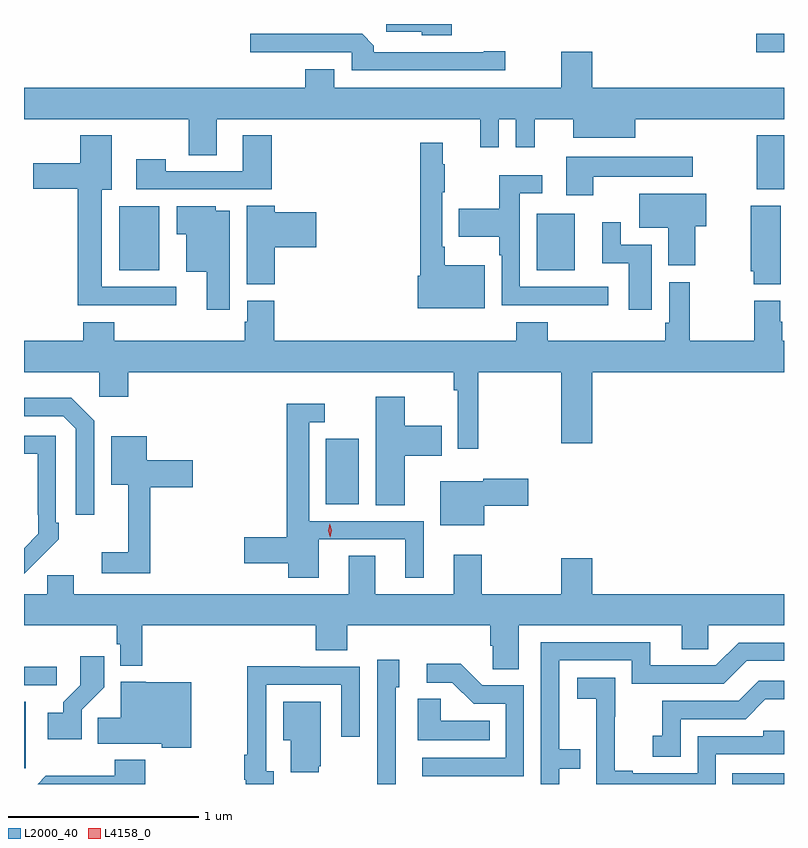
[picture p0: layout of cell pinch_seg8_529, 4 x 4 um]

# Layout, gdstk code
import gdstk
lib = gdstk.Library(unit=1e-6, precision=1e-09)
def R(c, l, rs):  # rectangles x0, y0, x1, y1
    for r in rs: c.add(gdstk.rectangle(r[:2], r[2:], *l))
def P(c, l, *ps):  # polygons
    for p in ps: c.add(gdstk.Polygon(p, *l))
L2000_40 = (2000, 40)
L4158_0 = (4158, 0)

pinch_seg8_529 = lib.new_cell('pinch_seg8_529')
R(pinch_seg8_529, L2000_40, [(153.919,1106.34,154.192,1106.397), (150.192,1106.424,150.202,1106.773), (150.192,1106.859,150.364,1106.958), (151.781,1107.812,151.954,1108.156), (150.692,1109.045,150.904,1109.38), (152.891,1109.045,153.091,1109.341), (154.048,1109.469,154.192,1109.755), (154.047,1110.192,154.192,1110.288)])
P(pinch_seg8_529, L2000_40, [(152.443,1110.34),(152.099,1110.34),(152.099,1110.299),(152.286,1110.299),(152.286,1110.281),(152.443,1110.281)],
  [(152.725,1110.197),(152.612,1110.197),(152.612,1110.192),(152.033,1110.192),(152.033,1110.226),(151.971,1110.288),(151.383,1110.288),(151.383,1110.192),(151.917,1110.192),(151.917,1110.096),(152.725,1110.096)],
  [(151.207,1109.84),(152.594,1109.84),(152.594,1109.691),(152.691,1109.691),(152.691,1109.84),(152.781,1109.84),(152.781,1109.691),(152.879,1109.691),(152.879,1109.84),(153.083,1109.84),(153.083,1109.741),(153.409,1109.741),(153.409,1109.84),(154.192,1109.84),(154.192,1110.004),(153.184,1110.004),(153.184,1110.193),(153.02,1110.193),(153.02,1110.004),(151.825,1110.004),(151.825,1110.103),(151.673,1110.103),(151.673,1110.004),(150.192,1110.004),(150.192,1109.84),(151.06,1109.84),(151.06,1109.65),(151.207,1109.65)],
  [(150.994,1108.956),(150.601,1108.956),(150.601,1109.468),(150.655,1109.468),(150.655,1109.755),(150.488,1109.755),(150.488,1109.608),(150.24,1109.608),(150.24,1109.474),(150.476,1109.474),(150.476,1108.859),(150.994,1108.859)],
  [(151.496,1109.755),(151.343,1109.755),(151.343,1109.565),(150.939,1109.565),(150.939,1109.629),(150.783,1109.629),(150.783,1109.469),(151.496,1109.469)],
  [(152.617,1109.071),(152.407,1109.071),(152.407,1109.167),(152.394,1109.167),(152.394,1109.455),(152.407,1109.455),(152.407,1109.603),(152.396,1109.603),(152.396,1109.716),(152.278,1109.716),(152.278,1109.015),(152.264,1109.015),(152.264,1108.844),(152.617,1108.844)],
  [(153.187,1109.537),(153.712,1109.537),(153.712,1109.641),(153.047,1109.641),(153.047,1109.439),(153.187,1109.439)],
  [(153.268,1108.956),(152.802,1108.956),(152.802,1109.448),(152.92,1109.448),(152.92,1109.545),(152.694,1109.545),(152.694,1109.367),(152.479,1109.367),(152.479,1109.219),(152.694,1109.219),(152.694,1109.123),(152.706,1109.123),(152.706,1108.86),(153.031,1108.86),(153.031,1108.859),(153.268,1108.859)],
  [(153.724,1109.276),(153.784,1109.276),(153.784,1109.446),(153.431,1109.446),(153.431,1109.267),(153.584,1109.267),(153.584,1109.07),(153.724,1109.07)],
  [(151.511,1109.165),(151.729,1109.165),(151.729,1109.348),(151.511,1109.348),(151.511,1109.384),(151.364,1109.384),(151.364,1108.969),(151.511,1108.969)],
  [(154.174,1109.384),(154.016,1109.384),(154.016,1109.04),(154.033,1109.04),(154.033,1108.969),(154.174,1108.969)],
  [(151.276,1109.356),(151.2,1109.356),(151.2,1109.38),(150.995,1109.38),(150.995,1109.234),(151.046,1109.234),(151.046,1109.036),(151.154,1109.036),(151.154,1108.836),(151.276,1108.836)],
  [(153.496,1109.178),(153.333,1109.178),(153.333,1109.296),(153.236,1109.296),(153.236,1109.082),(153.374,1109.082),(153.374,1108.836),(153.496,1108.836)],
  [(152.584,1108.508),(153.02,1108.508),(153.02,1108.134),(153.184,1108.134),(153.184,1108.508),(154.192,1108.508),(154.192,1108.672),(154.184,1108.672),(154.184,1108.773),(154.171,1108.773),(154.171,1108.884),(154.036,1108.884),(154.036,1108.672),(153.697,1108.672),(153.697,1108.981),(153.588,1108.981),(153.588,1108.768),(153.568,1108.768),(153.568,1108.672),(152.948,1108.672),(152.948,1108.771),(152.783,1108.771),(152.783,1108.672),(151.508,1108.672),(151.508,1108.884),(151.367,1108.884),(151.367,1108.773),(151.355,1108.773),(151.355,1108.672),(150.668,1108.672),(150.668,1108.771),(150.503,1108.771),(150.503,1108.672),(150.192,1108.672),(150.192,1108.508),(150.588,1108.508),(150.588,1108.377),(150.74,1108.377),(150.74,1108.508),(152.455,1108.508),(152.455,1108.412),(152.475,1108.412),(152.475,1108.104),(152.584,1108.104)],
  [(152.197,1108.067),(152.39,1108.067),(152.39,1108.225),(152.197,1108.225),(152.197,1108.378),(152.042,1108.378),(152.042,1107.808),(152.197,1107.808)],
  [(150.561,1108.251),(150.44,1108.372),(150.192,1108.372),(150.192,1108.275),(150.399,1108.275),(150.465,1108.209),(150.465,1107.756),(150.561,1107.756)],
  [(151.744,1107.627),(152.198,1107.627),(152.198,1107.426),(152.296,1107.426),(152.296,1107.723),(151.692,1107.723),(151.692,1108.245),(151.774,1108.245),(151.774,1108.342),(151.576,1108.342),(151.576,1107.638),(151.35,1107.638),(151.35,1107.503),(151.583,1107.503),(151.583,1107.426),(151.744,1107.426)],
  [(150.269,1107.523),(150.27,1107.522),(150.375,1107.627),(150.375,1107.715),(150.36,1107.715),(150.36,1108.173),(150.192,1108.173),(150.192,1108.077),(150.264,1108.077),(150.264,1107.757),(150.267,1107.757),(150.267,1107.657),(150.192,1107.582),(150.192,1107.446)],
  [(150.857,1107.902),(151.081,1107.902),(151.081,1108.044),(150.838,1108.044),(150.838,1108.171),(150.65,1108.171),(150.65,1107.914),(150.74,1107.914),(150.74,1107.559),(150.6,1107.559),(150.6,1107.45),(150.857,1107.45)],
  [(152.614,1107.805),(152.845,1107.805),(152.845,1107.947),(152.61,1107.947),(152.61,1107.934),(152.384,1107.934),(152.384,1107.701),(152.614,1107.701)],
  [(152.797,1107.176),(153.653,1107.176),(153.653,1107.049),(153.792,1107.049),(153.792,1107.176),(154.192,1107.176),(154.192,1107.34),(153.184,1107.34),(153.184,1107.529),(153.02,1107.529),(153.02,1107.34),(152.601,1107.34),(152.601,1107.547),(152.453,1107.547),(152.453,1107.34),(152.041,1107.34),(152.041,1107.542),(151.901,1107.542),(151.901,1107.34),(150.454,1107.34),(150.454,1107.438),(150.315,1107.438),(150.315,1107.34),(150.192,1107.34),(150.192,1107.176),(150.679,1107.176),(150.679,1107.075),(150.699,1107.075),(150.699,1106.963),(150.815,1106.963),(150.815,1107.176),(151.727,1107.176),(151.727,1107.043),(151.892,1107.043),(151.892,1107.176),(152.645,1107.176),(152.645,1107.067),(152.658,1107.067),(152.658,1106.944),(152.797,1106.944)],
  [(153.009,1106.421),(153.119,1106.421),(153.119,1106.522),(153.009,1106.522),(153.009,1106.991),(153.39,1106.991),(153.39,1106.868),(153.876,1106.868),(153.996,1106.988),(154.192,1106.988),(154.192,1107.084),(153.954,1107.084),(153.834,1106.964),(153.487,1106.964),(153.487,1107.087),(152.913,1107.087),(152.913,1106.34),(153.009,1106.34)],
  [(150.495,1106.731),(150.614,1106.85),(150.614,1107.013),(150.489,1107.013),(150.489,1106.861),(150.398,1106.771),(150.398,1106.716),(150.318,1106.716),(150.318,1106.576),(150.495,1106.576)],
  [(152.148,1106.85),(152.167,1106.85),(152.167,1106.995),(152.052,1106.995),(152.052,1106.501),(152.05,1106.501),(152.05,1106.34),(152.148,1106.34)],
  [(152.823,1106.859),(152.604,1106.859),(152.491,1106.972),(152.313,1106.972),(152.313,1106.874),(152.447,1106.874),(152.558,1106.763),(152.727,1106.763),(152.727,1106.478),(152.289,1106.478),(152.289,1106.382),(152.823,1106.382)],
  [(151.507,1106.406),(151.467,1106.406),(151.467,1106.862),(151.863,1106.862),(151.863,1106.589),(151.959,1106.589),(151.959,1106.958),(151.643,1106.958),(151.643,1106.96),(151.366,1106.96),(151.366,1106.494),(151.351,1106.494),(151.351,1106.362),(151.359,1106.362),(151.359,1106.34),(151.507,1106.34)],
  [(153.834,1106.496),(154.192,1106.496),(154.192,1106.619),(154.083,1106.619),(154.083,1106.592),(153.738,1106.592),(153.738,1106.397),(153.397,1106.397),(153.397,1106.41),(153.302,1106.41),(153.302,1106.693),(153.303,1106.693),(153.303,1106.899),(153.105,1106.899),(153.105,1106.789),(153.203,1106.789),(153.203,1106.561),(153.204,1106.561),(153.204,1106.34),(153.834,1106.34)],
  [(153.648,1106.682),(153.99,1106.682),(154.094,1106.786),(154.192,1106.786),(154.192,1106.883),(154.058,1106.883),(153.953,1106.778),(153.55,1106.778),(153.55,1106.593),(153.501,1106.593),(153.501,1106.484),(153.648,1106.484)],
  [(151.072,1106.875),(150.834,1106.875),(150.834,1106.878),(150.701,1106.878),(150.701,1106.69),(150.58,1106.69),(150.58,1106.552),(150.918,1106.552),(150.918,1106.531),(151.072,1106.531)],
  [(152.642,1106.674),(152.385,1106.674),(152.385,1106.789),(152.264,1106.789),(152.264,1106.57),(152.642,1106.57)],
  [(151.742,1106.433),(151.753,1106.433),(151.753,1106.773),(151.556,1106.773),(151.556,1106.57),(151.595,1106.57),(151.595,1106.402),(151.742,1106.402)],
  [(150.83,1106.467),(150.67,1106.467),(150.67,1106.383),(150.307,1106.383),(150.264,1106.34),(150.83,1106.34)])
P(pinch_seg8_529, L4158_0, [(151.805,1107.638),(151.805,1107.639),(151.793,1107.674),(151.8,1107.71),(151.801,1107.71),(151.801,1107.71),(151.813,1107.675),(151.805,1107.639)])

lib.write_gds('pinch_seg8_529.gds')
